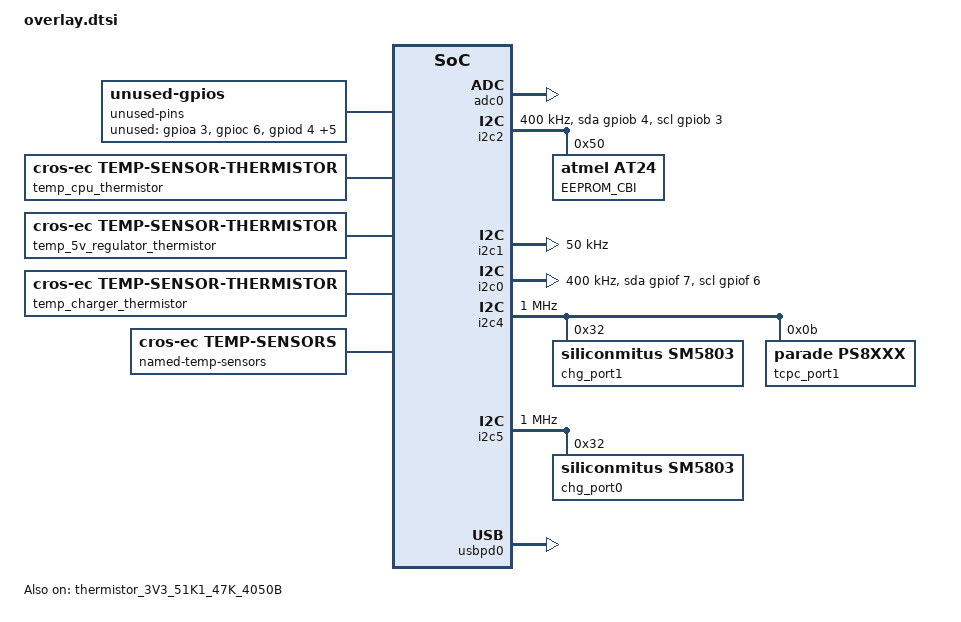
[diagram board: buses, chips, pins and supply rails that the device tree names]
/* Copyright 2023 The ChromiumOS Authors
 * Use of this source code is governed by a BSD-style license that can be
 * found in the LICENSE file.
 */

#include <cros/thermistor/thermistor.dtsi>
#include <dt-bindings/usb_pd_tcpm.h>

/ {
	aliases {
		gpio-cbi-wp = &gpio_ec_cbi_wp;
		gpio-wp = &gpio_ec_wp_odl;
		int-wp = &int_wp_l;
	};

	ec-console {
		compatible = "ec-console";
		disabled = "events", "lpc", "hostcmd";
	};

	batteries {
		default_battery: cosmx {
			compatible = "cosmx,li7", "battery-smart";
		};
	};

	hibernate-wake-pins {
		compatible = "cros-ec,hibernate-wake-pins";
		wakeup-irqs = <
			&int_power_button
			&int_lid_open
		>;
	};

	gpio-interrupts {
		compatible = "cros-ec,gpio-interrupts";

		int_power_button: power_button {
			irq-pin = <&gpio_gsc_ec_pwr_btn_odl>;
			flags = <GPIO_INT_EDGE_BOTH>;
			handler = "power_button_interrupt";
		};
		int_vol_down: vol_down {
			irq-pin = <&gpio_voldn_btn_odl>;
			flags = <GPIO_INT_EDGE_BOTH>;
			handler = "button_interrupt";
		};
		int_vol_up: vol_up {
			irq-pin = <&gpio_volup_btn_odl>;
			flags = <GPIO_INT_EDGE_BOTH>;
			handler = "button_interrupt";
		};
		int_wp_l: wp_l {
			irq-pin = <&gpio_ec_wp_odl>;
			flags = <GPIO_INT_EDGE_BOTH>;
			handler = "switch_interrupt";
		};
		int_lid_open: lid_open {
			irq-pin = <&gpio_lid_open>;
			flags = <GPIO_INT_EDGE_BOTH>;
			handler = "lid_interrupt";
		};
		int_tablet_mode: tablet_mode {
			irq-pin = <&gpio_tablet_mode_l>;
			flags = <GPIO_INT_EDGE_BOTH>;
			handler = "gmr_tablet_switch_isr";
		};
		int_acc: lid_imu {
		  irq-pin = <&gpio_acc_int_l>;
		  flags = <GPIO_INT_EDGE_FALLING>;
		  handler = "bma4xx_interrupt";
		};
		int_imu: ec_imu {
		  irq-pin = <&gpio_imu_int_l>;
		  flags = <GPIO_INT_EDGE_FALLING>;
		  handler = "bmi3xx_interrupt";
		};
		int_pen_det_l: pen_det_l {
			irq-pin = <&gpio_pen_detect_odl>;
			flags = <GPIO_INT_EDGE_BOTH>;
			handler = "pen_detect_interrupt";
		};
		int_usb_c0: usb_c0 {
			irq-pin = <&gpio_usb_c0_int_odl>;
			flags = <GPIO_INT_EDGE_FALLING>;
			handler = "usb_c0_interrupt";
		};
		int_usb_c1: usb_c1 {
			irq-pin = <&gpio_usb_c1_int_odl>;
			flags = <GPIO_INT_EDGE_FALLING>;
			handler = "usb_c1_interrupt";
		};
	};

	unused-pins {
		compatible = "unused-gpios";
		unused-gpios = <&gpioa 3 0>,
			       <&gpioc 6 0>,
			       <&gpiod 4 0>,
			       <&gpiod 7 0>,
			       <&gpioh 2 0>,
			       <&gpioj 3 0>,
			       <&gpiol 4 0>,
			       <&gpiok 7 GPIO_OUTPUT>;
	};

	named-gpios {
		/*
		 * EC doesn't take any specific action on CC/SBU disconnect due
		 * to fault, but this definition is useful for hardware testing.
		 */
		gpio_usb_c0_prot_fault_odl: usb_c0_prot_fault_odl {
			gpios = <&gpiok 6 GPIO_INPUT_PULL_UP>;
		};
		gpio_fan_enable: fan-enable {
			gpios = <&gpioa 1 GPIO_OUTPUT>;
			no-auto-init;
		};
	};

	temp_cpu_thermistor: cpu {
		compatible = "cros-ec,temp-sensor-thermistor";
		thermistor = <&thermistor_3V3_51K1_47K_4050B>;
		adc = <&adc_temp_sensor_1>;
	};
	temp_5v_regulator_thermistor: 5v-regulator {
		compatible = "cros-ec,temp-sensor-thermistor";
		thermistor = <&thermistor_3V3_51K1_47K_4050B>;
		adc = <&adc_temp_sensor_2>;
	};
	temp_charger_thermistor: charger {
		compatible = "cros-ec,temp-sensor-thermistor";
		thermistor = <&thermistor_3V3_51K1_47K_4050B>;
		adc = <&adc_temp_sensor_3>;
	};

	named-temp-sensors {
		compatible = "cros-ec,temp-sensors";
		temp_cpu: cpu {
			temp_fan_off = <45>;
			temp_fan_max = <60>;
			temp_host_high = <75>;
			temp_host_halt = <85>;
			temp_host_release_high = <65>;
			power-good-pin = <&gpio_ec_soc_dsw_pwrok>;
			sensor = <&temp_cpu_thermistor>;
		};
		temp_5v_regulator: 5v-regulator {
			temp_fan_off = <50>;
			temp_fan_max = <65>;
			temp_host_high = <75>;
			temp_host_halt = <85>;
			temp_host_release_high = <65>;
			power-good-pin = <&gpio_ec_soc_dsw_pwrok>;
			sensor = <&temp_5v_regulator_thermistor>;
		};
		temp_charger: charger {
			temp_fan_off = <50>;
			temp_fan_max = <65>;
			temp_host_high = <80>;
			temp_host_halt = <85>;
			temp_host_release_high = <75>;
			power-good-pin = <&gpio_ec_soc_dsw_pwrok>;
			sensor = <&temp_charger_thermistor>;
		};
	};

	usba {
		compatible = "cros-ec,usba-port-enable-pins";
		/*
		 * ILIM_SEL pins are referred to by legacy enum name,
		 * GPIO_USB*_ILIM_SEL.
		 */
		enable-pins = <&gpio_en_usb_a0_vbus &gpio_en_usb_a1_vbus>;
		status = "okay";
	};

	usbc {
		#address-cells = <1>;
		#size-cells = <0>;

		port0@0 {
			compatible = "named-usbc-port";
			reg = <0>;
			chg = <&chg_port0>;
			tcpc = <&usbpd0>;
			usb-mux-chain-0 {
				compatible = "cros-ec,usb-mux-chain";
				usb-muxes = <&virtual_mux_0>;
			};
		};
		port0-muxes {
			virtual_mux_0: virtual-mux-0 {
				compatible = "cros-ec,usbc-mux-virtual";
			};
		};
		port1@1 {
			compatible = "named-usbc-port";
			reg = <1>;
			chg = <&chg_port1>;
			tcpc = <&tcpc_port1>;
			usb-mux-chain-1 {
				compatible = "cros-ec,usb-mux-chain";
				usb-muxes = <&virtual_mux_1 &tcpci_mux_1>;
			};
			usb_mux_chain_1_no_mux: usb-mux-chain-1-no-mux {
				compatible = "cros-ec,usb-mux-chain";
				alternative-chain;
				usb-muxes = <&virtual_mux_1>;
			};
		};
		port1-muxes {
			virtual_mux_1: virtual-mux-1 {
				compatible = "cros-ec,usbc-mux-virtual";
			};
			tcpci_mux_1: tcpci-mux-1 {
				compatible = "parade,usbc-mux-ps8xxx";
			};
		};
	};
};

&binman {
	ec-rw {
		size = <0x58000>;
		rw-fw {
			rw-fwid {
				/* Fix the lcoation of the FWID to the
				 * last 32 bytes of the flash. This
				 * ensures the RW entries in the FMAP
				 * stored in the RO section of flash
				 * are always correct.
				 */
				offset = <(0x58000 - 32)>;
			};
		};
	};
	pad-after = <0x48000>;
};

&thermistor_3V3_51K1_47K_4050B {
	status = "okay";
};

&adc_ec_vsense_pp3300_s5 {
	/*
	 * Voltage divider on input has 47k upper and 220k lower legs with 3 V
	 * full-scale reading on the ADC. Apply the largest possible multiplier
	 * (without overflowing int32) to get the best possible approximation
	 * of the actual ratio, but derate by a factor of two to ensure
	 * unexpectedly high values won't overflow.
	 */
	mul = <(715828 / 2)>;
	div = <(589820 / 2)>;
};

&adc0 {
	pinctrl-0 = <&adc0_ch0_gpi0_default
		     &adc0_ch2_gpi2_default
		     &adc0_ch3_gpi3_default
		     &adc0_ch13_gpl0_default
		     &adc0_ch14_gpl1_default>;
	pinctrl-names = "default";
	status = "okay";
};

&pinctrl {
	i2c4_clk_gpe0_sleep: i2c4_clk_gpe0_sleep {
		pinmuxs = <&pinctrle 0 IT8XXX2_ALT_DEFAULT>;
	};
	i2c4_data_gpe7_sleep: i2c4_data_gpe7_sleep {
		pinmuxs = <&pinctrle 7 IT8XXX2_ALT_DEFAULT>;
	};
	i2c2_clk_gpf6_default: i2c2_clk_gpf6_default {
		gpio-voltage = "1v8";
	};
	i2c2_data_gpf7_default: i2c2_data_gpf7_default {
		gpio-voltage = "1v8";
	};
};

&i2c2 {
	label = "I2C_EEPROM";
	clock-frequency = <I2C_BITRATE_FAST>;

	cbi_eeprom: eeprom@50 {
		compatible = "atmel,at24";
		reg = <0x50>;
		label = "EEPROM_CBI";
		size = <2048>;
		pagesize = <16>;
		address-width = <8>;
		timeout = <5>;
	};
	pinctrl-0 = <&i2c0_clk_gpb3_default
		     &i2c0_data_gpb4_default>;
	pinctrl-names = "default";
	scl-gpios = <&gpiob 3 0>;
	sda-gpios = <&gpiob 4 0>;
	channel-switch-sel = <I2C_CHA_LOCATE>;
	status = "okay";
};

&i2c1 {
	label = "I2C_BATTERY";
	clock-frequency = <50000>;
	pinctrl-0 = <&i2c1_clk_gpc1_default
		     &i2c1_data_gpc2_default>;
	pinctrl-names = "default";
	status = "okay";
};

&i2c0 {
	label = "I2C_SENSOR";
	clock-frequency = <I2C_BITRATE_FAST>;
	pinctrl-0 = <&i2c2_clk_gpf6_default
		     &i2c2_data_gpf7_default>;
	pinctrl-names = "default";
	scl-gpios = <&gpiof 6 0>;
	sda-gpios = <&gpiof 7 0>;
	channel-switch-sel = <I2C_CHC_LOCATE>;
	status = "okay";
};

&i2c4 {
	label = "I2C_SUB_C1_TCPC";
	clock-frequency = <I2C_BITRATE_FAST_PLUS>;
	pinctrl-0 = <&i2c4_clk_gpe0_default
		     &i2c4_data_gpe7_default>;
	pinctrl-1 = <&i2c4_clk_gpe0_sleep
		     &i2c4_data_gpe7_sleep>;
	pinctrl-names = "default", "sleep";
	status = "okay";

	chg_port1: sm5803@32 {
		compatible = "siliconmitus,sm5803";
		status = "okay";
		reg = <0x32>;
	};

	tcpc_port1: ps8745@b {
		compatible = "parade,ps8xxx";
		reg = <0xb>;
		tcpc-flags = <(TCPC_FLAGS_TCPCI_REV2_0)>;
	};
};

&i2c_ec_i2c_sub_usb_c1 {
	/*
	 * Dynamic speed setting is used for AP-controlled firmware update
	 * of PS8745 TCPC/redriver: the AP lowers speed to 400 kHz in order
	 * to use more efficient window programming, then sets it back when
	 * done.
	 */
	dynamic-speed;
};

&i2c5 {
	label = "I2C_USB_C0_TCPC";
	clock-frequency = <I2C_BITRATE_FAST_PLUS>;
	pinctrl-0 = <&i2c5_clk_gpa4_default
		     &i2c5_data_gpa5_default>;
	pinctrl-names = "default";
	status = "okay";

	chg_port0: sm5803@32 {
		compatible = "siliconmitus,sm5803";
		status = "okay";
		reg = <0x32>;
	};
};

&usbpd0 {
	status = "okay";
};
